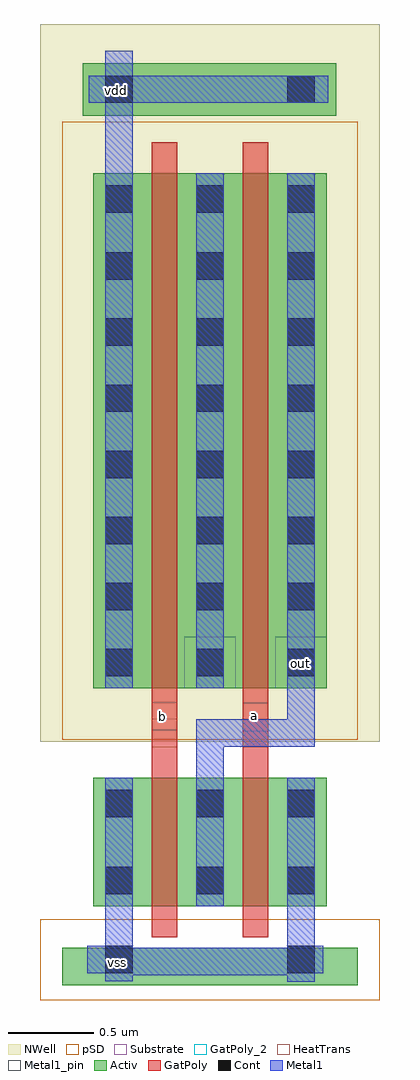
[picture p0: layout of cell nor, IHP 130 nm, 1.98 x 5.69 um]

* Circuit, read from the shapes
.subckt nor a b out vdd vss
XM1 out b vss vss sg13_lv_nmos w=0.75u l=0.15u
XM2 vss a out vss sg13_lv_nmos w=0.75u l=0.15u
XM3 n1 b vdd vdd sg13_lv_pmos w=3u l=0.15u
XM4 out a n1 vdd sg13_lv_pmos w=3u l=0.15u
.ends

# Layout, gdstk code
import gdstk
lib = gdstk.Library(unit=1e-6, precision=5e-09)
def R(c, l, rs):  # rectangles x0, y0, x1, y1
    for r in rs: c.add(gdstk.rectangle(r[:2], r[2:], *l))
def A(c, l, x, y, w, h, nx, ny, dx, dy):  # array of equal rectangles
    R(c, l, [(x+i*dx, y+j*dy, x+i*dx+w, y+j*dy+h) for i in range(nx) for j in range(ny)])
Activ = (1, 0)
GatPoly = (5, 0)
GatPoly_2 = (5, 2)
Cont = (6, 0)
Metal1 = (8, 0)
Metal1_pin = (8, 2)
pSD = (14, 0)
NWell = (31, 0)
Substrate = (40, 0)
HeatTrans = (51, 0)

pmos_1 = lib.new_cell('pmos$1')
R(pmos_1, Activ, [(0,0,0.3,0.3), (0,0,0.83,3), (0.53,0,0.83,0.3)])
R(pmos_1, GatPoly, [(0.34,-0.18,0.49,3.18), (0.34,-0.18,0.49,3.18)])
A(pmos_1, Cont, 0.07, 0.07, 0.16, 0.16, 1, 7, 0, 0.385)
A(pmos_1, Cont, 0.6, 0.07, 0.16, 0.16, 1, 7, 0, 0.385)
R(pmos_1, Cont, [(0.07,2.77,0.23,2.93), (0.6,2.77,0.76,2.93)])
R(pmos_1, Metal1, [(0.07,0,0.23,3), (0.07,0,0.23,3), (0.6,0,0.76,3), (0.6,0,0.76,3)])
R(pmos_1, pSD, [(-0.18,-0.3,1.01,3.3)])
R(pmos_1, NWell, [(-0.31,-0.31,1.14,3.31)])
R(pmos_1, Substrate, [(0.53,0,0.83,0.3)])
R(pmos_1, HeatTrans, [(0.34,-0.18,0.49,3.18)])
pmos_1.add(gdstk.Label('pmos', (0.415,1.5), layer=63, texttype=0))
pmos_1.add(gdstk.Label('pmos', (0.415,1.5), layer=51, texttype=0))

nmos = lib.new_cell('nmos')
R(nmos, Activ, [(0,0,0.3,0.3), (0,0,0.83,0.75), (0.53,0,0.83,0.3)])
R(nmos, GatPoly, [(0.34,-0.18,0.49,0.93)])
R(nmos, GatPoly_2, [(0.34,-0.18,0.49,0.93)])
R(nmos, Cont, [(0.07,0.07,0.23,0.23), (0.6,0.07,0.76,0.23), (0.07,0.52,0.23,0.68), (0.6,0.52,0.76,0.68)])
R(nmos, Metal1, [(0.07,0,0.23,0.75), (0.6,0,0.76,0.75)])
R(nmos, Metal1_pin, [(0.07,0,0.23,0.75), (0.6,0,0.76,0.75)])
R(nmos, HeatTrans, [(0.34,-0.18,0.49,0.93)])
nmos.add(gdstk.Label('nmos', (0.415,0.375), layer=63, texttype=0))
nmos.add(gdstk.Label('nmos', (0.415,0.375), layer=51, texttype=0))

nor = lib.new_cell('nor')
R(nor, Activ, [(-2.805,-1.285,-1.085,-1.065), (-2.685,3.78,-1.21,4.085)])
R(nor, GatPoly, [(-1.755,-0.625,-1.605,0.285), (-2.285,-0.62,-2.135,0.285)])
R(nor, GatPoly_2, [(-1.755,0.195,-1.605,0.36), (-2.285,0.2,-2.135,0.365)])
R(nor, Cont, [(-2.555,-1.215,-2.395,-1.055), (-1.495,-1.215,-1.335,-1.055), (-2.555,3.855,-2.395,4.015), (-1.495,3.855,-1.335,4.015)])
R(nor, Metal1, [(-1.495,-1.265,-1.335,-1.135), (-2.555,-1.26,-2.395,-1.14), (-2.66,-1.215,-2.555,-1.055), (-1.415,-1.215,-1.285,-1.055), (-2.555,3.215,-2.395,4.16), (-2.65,3.855,-1.255,4.015)])
R(nor, Metal1_pin, [(-2.555,-1.215,-2.395,-1.055), (-1.495,-1.215,-1.335,-1.055), (-1.495,0.515,-1.335,0.675), (-2.555,3.855,-2.395,4.015), (-1.495,3.855,-1.335,4.015)])
R(nor, pSD, [(-2.935,-1.37,-0.955,-0.9)])
R(nor, NWell, [(-2.935,3.755,-0.955,4.315)])
nor.add(gdstk.FlexPath([(-2.475,-0.585),(-2.475,-1.145),(-1.415,-1.145),(-1.415,-0.59)], 0.16, ends="flush", simple_path=True, layer=8, datatype=0))  # Metal1
nor.add(gdstk.FlexPath([(-1.945,-0.265),(-1.945,0.185),(-1.415,0.185),(-1.415,0.595)], 0.16, ends="flush", simple_path=True, layer=8, datatype=0))  # Metal1
nor.add(gdstk.Reference(pmos_1, (-2.625,0.445)))
nor.add(gdstk.Reference(pmos_1, (-2.095,0.445)))
nor.add(gdstk.Reference(nmos, (-2.625,-0.825)))
nor.add(gdstk.Reference(nmos, (-2.095,-0.825)))
nor.add(gdstk.Label('vss', (-2.485,-1.15), layer=8, texttype=2))
nor.add(gdstk.Label('vdd', (-2.49,3.93), layer=8, texttype=2))
nor.add(gdstk.Label('out', (-1.42,0.59), layer=8, texttype=2))
nor.add(gdstk.Label('a', (-1.685,0.29), layer=5, texttype=2))
nor.add(gdstk.Label('b', (-2.22,0.28), layer=5, texttype=2))

lib.write_gds('nor.gds')
